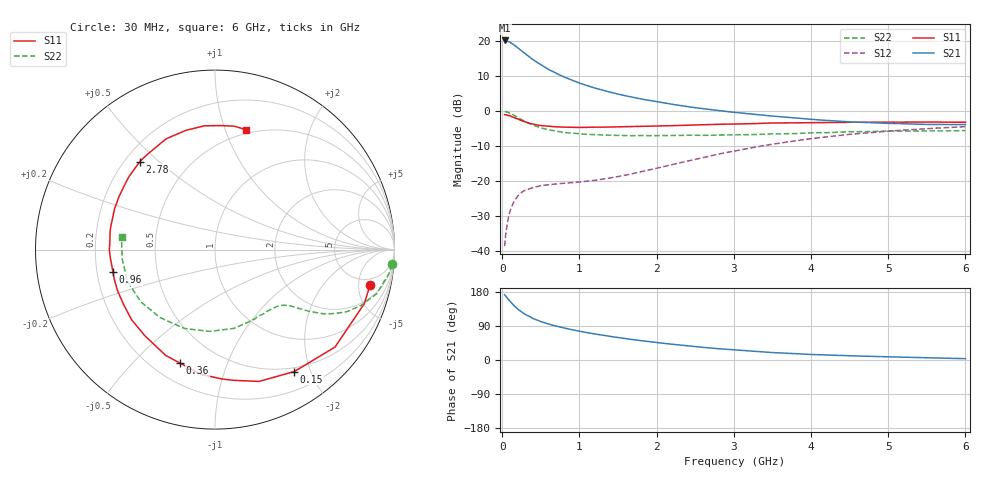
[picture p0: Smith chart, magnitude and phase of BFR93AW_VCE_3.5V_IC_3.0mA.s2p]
! Infineon Technologies  Discrete & RF Semiconductors
! BFR93AW
! VCE =  3.5 V,  IC =  3.0 mA
! Common Emitter S-Parameters:  Nov 2015
# GHz  S  MA  R  50
!  f  S11  S21  S12  S22
! GHz  MAG  ANG  MAG  ANG  MAG  ANG  MAG  ANG
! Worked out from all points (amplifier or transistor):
!   206 points, 30 MHz to 6 GHz, reference 50 ohm
!   highest |S21| = 20.2 dB at 30 MHz (marker M1)
!   |S21| within 3 dB of that: start of sweep to 251.3 MHz
!   unconditionally stable (mu >= 1): 1.104 GHz to 2.336 GHz
!   at 200 MHz: K = 0.22, MSG = 21.2 dB, |S12| = -24.3 dB
!   at 1.56 GHz: K = 1.13, MAG = 9.3 dB, |S12| = -18.5 dB
!   at 6 GHz: K = 0.97, MSG = 0.3 dB, |S12| = -4.5 dB
!   S11 on the Smith chart (normalised r, x): 30 MHz: 3.72, -6.86; 150 MHz: 0.44, -1.76; 360 MHz: 0.31, -0.69; 960 MHz: 0.27, -0.10; 2.78 GHz: 0.26, +0.44; 6 GHz: 0.46, +1.18
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0.03  0.8862 -12.9  10.24 172.2  0.0116 83.5  0.9882 -4.8
0.05  0.8847 -19.9  10.13 166.8  0.0192 80.7  0.9777 -8.0
0.1  0.8613 -39.1  9.69 154.6  0.0369 70.1  0.9344 -15.2
0.15  0.8103 -57.0  8.878 143.4  0.0501 61.3  0.8718 -20.9
0.2  0.7745 -71.5  8.08 134.4  0.0607 54.5  0.8105 -25.3
0.26  0.7211 -87.2  7.124 125.1  0.0695 48.9  0.7414 -28.8
0.3  0.6992 -96.4  6.574 119.9  0.0736 46.0  0.7033 -30.6
0.36  0.6615 -107.2  5.851 114.0  0.0777 42.8  0.6564 -32.2
0.4  0.6506 -114.9  5.41 109.3  0.0805 40.9  0.6254 -33.3
0.5  0.6194 -128.9  4.578 101.2  0.0854 38.3  0.5725 -35.0
0.6  0.607 -139.9  3.929 94.7  0.0882 37.6  0.5386 -36.1
0.8  0.5893 -157.3  3.069 84.3  0.0925 38.6  0.4932 -38.9
0.96  0.5818 -167.6  2.611 77.6  0.0954 41.5  0.476 -41.1
1.04  0.582 -172.0  2.428 74.5  0.0975 43.0  0.4683 -42.6
1.2  0.5888 -179.9  2.129 68.7  0.1015 46.6  0.4584 -45.8
1.5  0.5944 168.2  1.744 59.3  0.1151 53.8  0.4483 -52.6
2.02  0.6111 150.7  1.345 45.5  0.1531 63.0  0.4448 -66.4
2.78  0.6445 130.5  1.023 30.2  0.2392 65.6  0.4515 -88.3
3.1  0.6538 122.7  0.935 25.3  0.2794 63.6  0.4563 -97.8
4.1  0.6842 101.9  0.746 14.0  0.4138 52.5  0.4874 -132.1
5.1  0.6919 86.3  0.661 7.9  0.5242 38.0  0.5161 -162.8
6  0.6903 75.4  0.639 3.5  0.5968 25.8  0.5251 172.6
